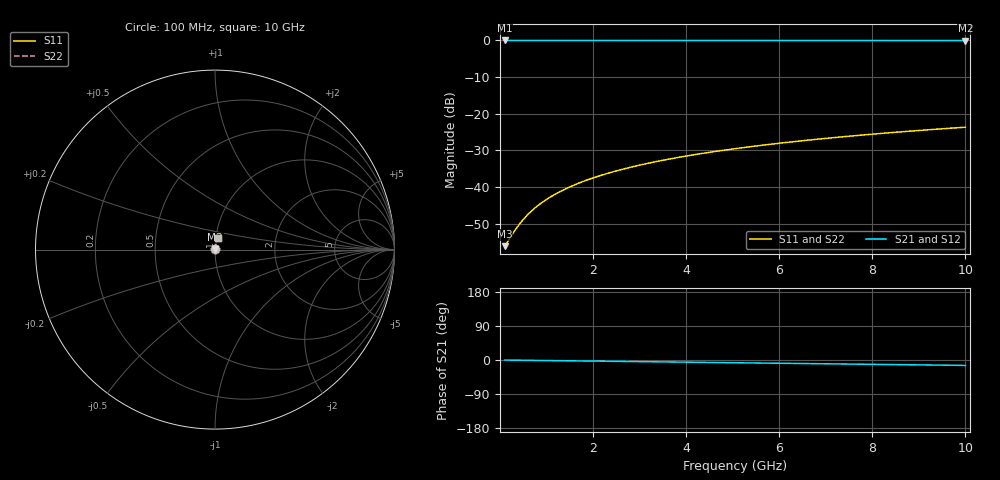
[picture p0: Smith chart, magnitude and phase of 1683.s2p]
# Hz S RI R 50.00
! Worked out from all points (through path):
!   100 points, 100 MHz to 10 GHz, reference 50 ohm
!   highest |S21| = -0.01 dB at 100 MHz (marker M1); lowest = 0.0 dB at 10 GHz (marker M2)
!   group delay of S21, straight-line fit = 3.98 ps
!   lowest |S11| = -56.2 dB at 100 MHz (marker M3), VSWR 1.00, Z = 50.1 + j0.0659 ohm
!   |S11| at or under -10 dB: start of sweep to end of sweep
!   |S22| runs from -56.2 to -23.7 dB; largest |S21 - S12| = 0
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1e8  0.00141 0.000657  0.9986 -0.00249  0.9986 -0.00249  0.00141 0.000657
3e8  0.00144 0.00197  0.9985 -0.00746  0.9985 -0.00746  0.00144 0.00197
4e8  0.00146 0.00263  0.9985 -0.00995  0.9985 -0.00995  0.00146 0.00263
5e8  0.00147 0.00329  0.9985 -0.0124  0.9985 -0.0124  0.00147 0.00329
6e8  0.0015 0.00394  0.9984 -0.0149  0.9984 -0.0149  0.0015 0.00394
7e8  0.00152 0.0046  0.9984 -0.0174  0.9984 -0.0174  0.00152 0.0046
8e8  0.00155 0.00525  0.9983 -0.0199  0.9983 -0.0199  0.00155 0.00525
1e9  0.00161 0.00657  0.9982 -0.0249  0.9982 -0.0249  0.00161 0.00657
1.2e9  0.00169 0.00788  0.998 -0.0298  0.998 -0.0298  0.00169 0.00788
1.5e9  0.00183 0.00985  0.9978 -0.0373  0.9978 -0.0373  0.00183 0.00985
1.8e9  0.00199 0.0118  0.9974 -0.0448  0.9974 -0.0448  0.00199 0.0118
2.1e9  0.00219 0.0138  0.997 -0.0522  0.997 -0.0522  0.00219 0.0138
2.5e9  0.00249 0.0164  0.9964 -0.0622  0.9964 -0.0622  0.00249 0.0164
2.9e9  0.00285 0.019  0.9957 -0.0721  0.9957 -0.0721  0.00285 0.019
3.4e9  0.00337 0.0222  0.9946 -0.0845  0.9946 -0.0845  0.00337 0.0222
4.2e9  0.00437 0.0274  0.9926 -0.1043  0.9926 -0.1043  0.00437 0.0274
5.1e9  0.00574 0.0331  0.9898 -0.1266  0.9898 -0.1266  0.00574 0.0331
5.9e9  0.00717 0.0382  0.9869 -0.1463  0.9869 -0.1463  0.00717 0.0382
6.7e9  0.0088 0.0432  0.9835 -0.166  0.9835 -0.166  0.0088 0.0432
7.5e9  0.0106 0.0481  0.9797 -0.1856  0.9797 -0.1856  0.0106 0.0481
8.4e9  0.0129 0.0536  0.975 -0.2076  0.975 -0.2076  0.0129 0.0536
1e10  0.0176 0.063  0.9652 -0.2463  0.9652 -0.2463  0.0176 0.063
